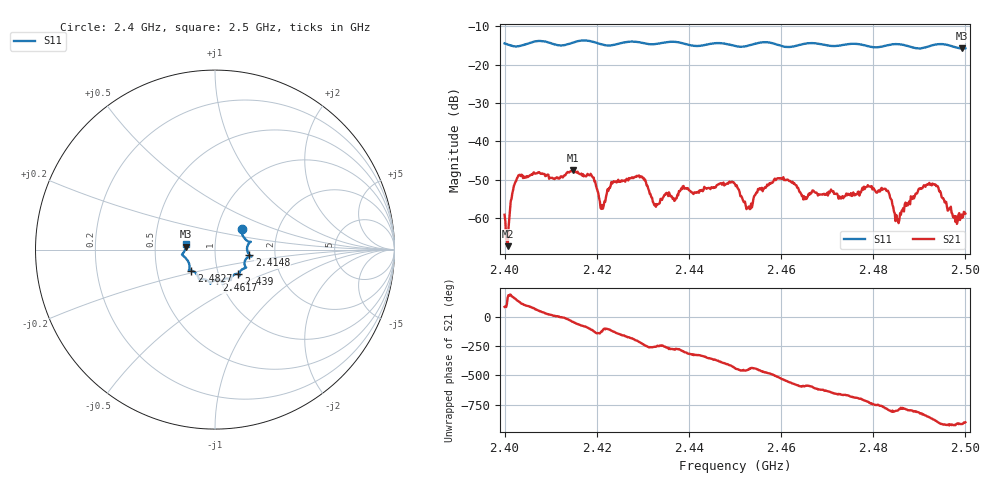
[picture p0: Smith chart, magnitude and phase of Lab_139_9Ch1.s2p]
# Hz S RI R 50
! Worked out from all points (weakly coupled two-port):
!   601 points, 2.4 GHz to 2.5 GHz, reference 50 ohm
!   highest |S21| = -47.48 dB at 2.4148 GHz (marker M1); lowest = -67.3 dB at 2.4007 GHz (marker M2)
!   lowest |S11| = -15.8 dB at 2.4992 GHz (marker M3), VSWR 1.39, Z = 36 + j1.18 ohm
!   |S11| at or under -10 dB: start of sweep to end of sweep
!   S12 and S22 are empty: the file has one direction only
!   S11 on the Smith chart (normalised r, x): 2.4 GHz: 1.31, +0.32; 2.4148 GHz: 1.47, -0.09; 2.439 GHz: 1.24, -0.35; 2.4617 GHz: 0.96, -0.34; 2.4827 GHz: 0.75, -0.18; 2.5 GHz: 0.72, +0.05
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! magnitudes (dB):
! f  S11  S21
! 2.4 GHz  -14.4  -59.1
! 2.4007 GHz  -14.7  -67.3
! 2.4018 GHz  -15.1  -52.7
! 2.4032 GHz  -15.1  -48.7
! 2.4148 GHz  -14.2  -47.5
! 2.4167 GHz  -13.7  -48.4
! 2.4192 GHz  -14.0  -49.4
! 2.4212 GHz  -14.7  -56.6
! 2.4237 GHz  -14.8  -50.4
! 2.4287 GHz  -14.0  -49.0
! 2.4333 GHz  -14.5  -56.3
! 2.439 GHz  -14.5  -52.3
! 2.45 GHz  -15.1  -51.1
! 2.4528 GHz  -15.0  -57.3
! 2.4617 GHz  -15.4  -50.2
! 2.4667 GHz  -14.4  -53.2
! 2.4827 GHz  -15.0  -52.4
! 2.4833 GHz  -14.9  -53.2
! 2.4853 GHz  -14.6  -60.3
! 2.4933 GHz  -14.8  -51.3
! 2.4992 GHz  -15.8  -59.1
! 2.5 GHz  -15.7  -58.8
